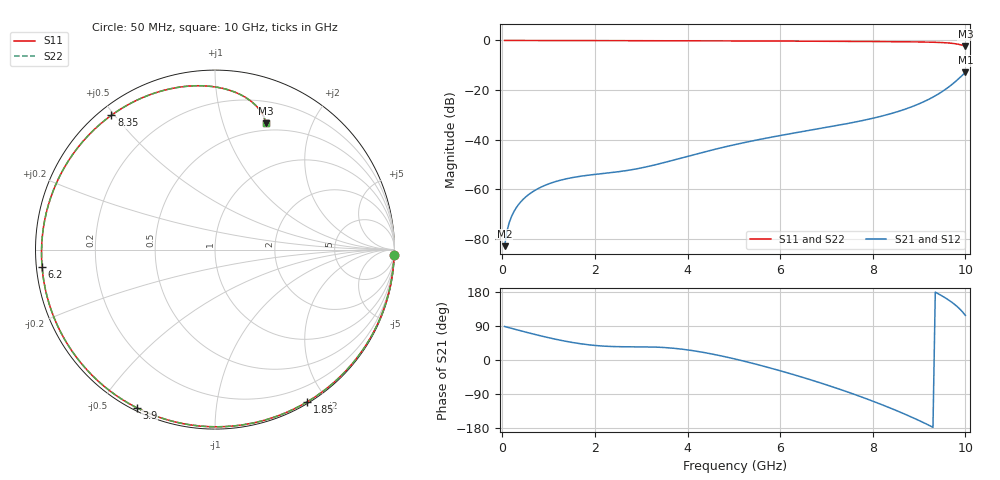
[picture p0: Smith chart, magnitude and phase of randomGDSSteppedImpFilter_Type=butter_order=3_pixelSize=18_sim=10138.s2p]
! freq	dB(S11)	phase(S11)	dB(S12)	phase(S12)
!  dB(S21)	phase(S21)	dB(S22)	phase(S22)
!S-par simulation data
#  GHz  S  DB  R 50
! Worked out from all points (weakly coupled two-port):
!   200 points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, 50 MHz to 10 GHz, reference 50 ohm
!   highest |S21| = -12.89 dB at 10 GHz (marker M1); lowest = -83.0 dB at 50 MHz (marker M2)
!   lowest |S11| = -2.4 dB at 10 GHz (marker M3), VSWR 7.29, Z = 21.1 + j69.9 ohm
!   |S11| at or under -10 dB: nowhere
!   |S22| runs from -2.4 to 0.0 dB; largest |S21 - S12| = 0
!   S11 on the Smith chart (normalised r, x): 50 MHz: 5, -69; 1.85 GHz: 0.02, -1.77; 3.9 GHz: 0.01, -0.62; 6.2 GHz: 0.02, -0.05; 8.35 GHz: 0.04, +0.49; 10 GHz: 0.42, +1.40
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0.05  -0.02 -1.7  -83.04 88.4  -83.04 88.4  -0.02 -1.7
0.15  -0.02 -4.9  -73.51 85.1  -73.51 85.1  -0.02 -4.9
0.25  -0.02 -8.2  -69.11 81.8  -69.11 81.8  -0.02 -8.2
0.4  -0.02 -13.1  -65.12 77.0  -65.12 77.0  -0.02 -13.1
0.55  -0.03 -18.0  -62.48 72.2  -62.48 72.2  -0.03 -18.0
0.8  -0.03 -26.1  -59.53 64.6  -59.53 64.6  -0.03 -26.1
1.05  -0.04 -34.1  -57.57 57.5  -57.57 57.5  -0.04 -34.1
1.75  -0.07 -55.9  -54.65 41.9  -54.65 41.9  -0.07 -55.9
1.85  -0.07 -58.9  -54.40 40.3  -54.40 40.3  -0.07 -58.9
2.6  -0.10 -81.0  -52.76 35.0  -52.76 35.0  -0.10 -81.0
3.4  -0.13 -103.1  -49.75 33.6  -49.75 33.6  -0.13 -103.1
3.9  -0.15 -116.4  -47.28 28.3  -47.28 28.3  -0.15 -116.4
5.05  -0.20 -145.7  -41.94 1.9  -41.94 1.9  -0.20 -145.7
5.65  -0.24 -160.6  -39.62 -16.6  -39.62 -16.6  -0.24 -160.6
6.2  -0.28 -174.4  -37.71 -35.4  -37.71 -35.4  -0.28 -174.4
6.7  -0.32 172.9  -36.07 -53.8  -36.07 -53.8  -0.32 172.9
7.55  -0.40 150.4  -33.21 -88.4  -33.21 -88.4  -0.40 150.4
8.35  -0.49 127.6  -29.77 -125.4  -29.77 -125.4  -0.49 127.6
8.9  -0.59 110.5  -26.36 -154.1  -26.36 -154.1  -0.59 110.5
9.4  -0.79 93.1  -21.81 175.8  -21.81 175.8  -0.79 93.0
9.75  -1.26 78.7  -17.17 148.4  -17.17 148.4  -1.26 78.7
10  -2.40 67.9  -12.89 117.6  -12.89 117.6  -2.40 67.9
